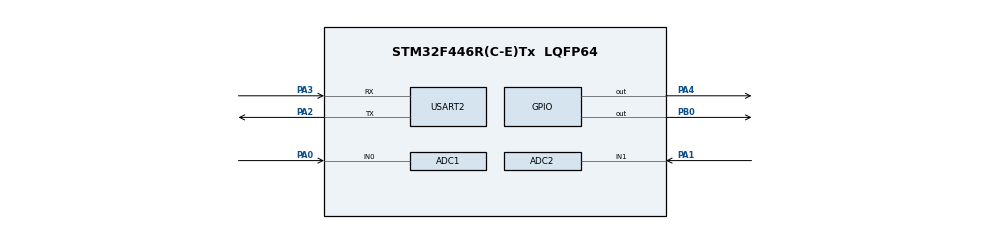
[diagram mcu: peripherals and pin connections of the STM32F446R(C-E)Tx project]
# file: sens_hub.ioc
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ADC1.Channel-0\#ChannelRegularConversion=ADC_CHANNEL_0
ADC1.ExternalTrigConv=ADC_EXTERNALTRIGCONV_T2_TRGO
ADC1.NbrOfConversionFlag=1
ADC1.Rank-0\#ChannelRegularConversion=1
ADC1.Resolution=ADC_RESOLUTION_10B
ADC1.SamplingTime-0\#ChannelRegularConversion=ADC_SAMPLETIME_3CYCLES
ADC1.ScanConvMode=ENABLE
ADC1.master=1
ADC2.Channel-0\#ChannelRegularConversion=ADC_CHANNEL_1
ADC2.ExternalTrigConv=ADC_EXTERNALTRIGCONV_T2_TRGO
ADC2.NbrOfConversionFlag=1
ADC2.Rank-0\#ChannelRegularConversion=1
ADC2.Resolution=ADC_RESOLUTION_10B
ADC2.SamplingTime-0\#ChannelRegularConversion=ADC_SAMPLETIME_3CYCLES
ADC2.ScanConvMode=ENABLE
Mcu.Family=STM32F4
Mcu.Name=STM32F446R(C-E)Tx
Mcu.Package=LQFP64
NVIC.ADC_IRQn=true\:0\:0\:false\:false\:true\:true\:true\:true
NVIC.PriorityGroup=NVIC_PRIORITYGROUP_4
NVIC.TIM2_IRQn=true\:0\:0\:false\:false\:true\:true\:true\:true
NVIC.TIM3_IRQn=true\:0\:0\:false\:false\:true\:true\:true\:true
NVIC.USART2_IRQn=true\:0\:0\:false\:false\:true\:true\:true\:true
PA0-WKUP.Signal=ADCx_IN0
PA1.Signal=ADCx_IN1
PA2.Mode=Asynchronous
PA2.Signal=USART2_TX
PA3.Mode=Asynchronous
PA3.Signal=USART2_RX
PA4.GPIO_ModeDefaultOutputPP=GPIO_MODE_OUTPUT_OD
PA4.GPIO_PuPd=GPIO_PULLUP
PA4.Signal=GPIO_Output
PB0.GPIO_ModeDefaultOutputPP=GPIO_MODE_OUTPUT_OD
PB0.GPIO_PuPd=GPIO_NOPULL
PB0.PinState=GPIO_PIN_SET
PB0.Signal=GPIO_Output
ProjectManager.HeapSize=0x200
ProjectManager.StackSize=0x400
ProjectManager.TargetToolchain=STM32CubeIDE
RCC.CortexFreq_Value=16000000
RCC.USBFreq_Value=96000000
RCC.VCOOutputFreq_Value=192000000
SH.ADCx_IN0.0=ADC1_IN0,IN0
SH.ADCx_IN1.0=ADC2_IN1,IN1
TIM2.Period=5000
TIM2.Prescaler=1600-1
TIM2.TIM_MasterOutputTrigger=TIM_TRGO_UPDATE
TIM3.Period=100-1
TIM3.Prescaler=160-1
USART2.VirtualMode=VM_ASYNC
VP_TIM2_VS_ClockSourceINT.Mode=Internal
VP_TIM3_VS_ClockSourceINT.Mode=Internal
board=custom

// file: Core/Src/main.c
/* USER CODE BEGIN Header */
/**
  ******************************************************************************
  * @file           : main.c
  * @brief          : Main program body
  ******************************************************************************
  * @attention
  *
  * Copyright (c) 2025 STMicroelectronics.
  * All rights reserved.
  *
  * This software is licensed under terms that can be found in the LICENSE file
  * in the root directory of this software component.
  * If no LICENSE file comes with this software, it is provided AS-IS.
  *
  ******************************************************************************
  */
/* USER CODE END Header */
#include "main.h"

/* USER CODE BEGIN Includes */
#include "sens.h"
#include "dht.h"
#include "ds18b20.h"
/* USER CODE END Includes */

/* USER CODE BEGIN PTD */
void microDelay (uint16_t delay);
/* USER CODE END PTD */

ADC_HandleTypeDef hadc1;
ADC_HandleTypeDef hadc2;

TIM_HandleTypeDef htim2;
TIM_HandleTypeDef htim3;

UART_HandleTypeDef huart2;

void SystemClock_Config(void);
static void MX_GPIO_Init(void);
static void MX_ADC1_Init(void);
static void MX_ADC2_Init(void);
static void MX_TIM2_Init(void);
static void MX_USART2_UART_Init(void);
static void MX_TIM3_Init(void);
/* USER CODE BEGIN PFP */
void DWT_Delay_Init(void);
/* USER CODE END PFP */

/* USER CODE BEGIN 0 */
volatile uint32_t ms_tick = 0;
uint32_t t0 = 0;
uint8_t state = 0; // 0: idle, 1: waiting
/* USER CODE END 0 */

int main(void)
{

  /* MCU Configuration--------------------------------------------------------*/

  /* Reset of all peripherals, Initializes the Flash interface and the Systick. */
  HAL_Init();

  /* Configure the system clock */
  SystemClock_Config();

  /* USER CODE BEGIN SysInit */
  DWT_Delay_Init();
  /* USER CODE END SysInit */

  /* Initialize all configured peripherals */
  MX_GPIO_Init();
  MX_ADC1_Init();
  MX_ADC2_Init();
  MX_TIM2_Init();
  MX_USART2_UART_Init();
  MX_TIM3_Init();
  /* USER CODE BEGIN 2 */
  HAL_TIM_Base_Start_IT(&htim2);
  HAL_ADC_Start(&hadc1);
  HAL_ADC_Start_IT(&hadc1);
  HAL_ADC_Start(&hadc2);
  HAL_ADC_Start_IT(&hadc2);
  HAL_TIM_Base_Start_IT(&htim3);
  /* USER CODE END 2 */

  /* Infinite loop */
  /* USER CODE BEGIN WHILE */
  while (1)
  {
	  if (ph_flag==1)
	  {
		  printf("tds = %lu, ph = %.2f\r\n", (unsigned long)tds_value, ph_value);
		  ph_flag = 0;
	  }
	  if(dht_flag)
	  {
	    dht_flag = 0;

	    float t,h;

	    uint32_t primask = __get_PRIMASK();
	    __disable_irq();                 // ✅ DHT 읽는 동안 인터럽트 금지

	    uint8_t ok = DHT22_Read(&t, &h);

	    if(!primask) __enable_irq();     // ✅ 원래 상태로 복구

	    if (ok) printf("DHT: T=%.1f H=%.1f\r\n", t, h);
	  }

	  if (state == 0) {
	      // 1초마다 변환 시작
	      static uint32_t last = 0;
	      if (ms_tick - last >= 1000)
	      {
	        last = ms_tick;

	        if (DS18B20_StartConversion())
	        {
	          t0 = ms_tick;
	          state = 1;
	        } else printf("DS18B20: NO PRESENCE\r\n");
	      }
	    }
	    else if (state == 1) {
	      if (ms_tick - t0 >= 750) {
	        float temp;
	        if (DS18B20_ReadTemp(&temp)) {
	          printf("T=%.2f\r\n", temp);
	        } else printf("DS18B20 FAIL\r\n");
	        state = 0;
	      }
	    }
    /* USER CODE END WHILE */

  }
}

void SystemClock_Config(void)
{
  RCC_OscInitTypeDef RCC_OscInitStruct = {0};
  RCC_ClkInitTypeDef RCC_ClkInitStruct = {0};

  /** Configure the main internal regulator output voltage
  */
  __HAL_RCC_PWR_CLK_ENABLE();
  __HAL_PWR_VOLTAGESCALING_CONFIG(PWR_REGULATOR_VOLTAGE_SCALE3);

  /** Initializes the RCC Oscillators according to the specified parameters
  * in the RCC_OscInitTypeDef structure.
  */
  RCC_OscInitStruct.OscillatorType = RCC_OSCILLATORTYPE_HSI;
  RCC_OscInitStruct.HSIState = RCC_HSI_ON;
  RCC_OscInitStruct.HSICalibrationValue = RCC_HSICALIBRATION_DEFAULT;
  RCC_OscInitStruct.PLL.PLLState = RCC_PLL_NONE;
  if (HAL_RCC_OscConfig(&RCC_OscInitStruct) != HAL_OK)
  {
    Error_Handler();
  }

  /** Initializes the CPU, AHB and APB buses clocks
  */
  RCC_ClkInitStruct.ClockType = RCC_CLOCKTYPE_HCLK|RCC_CLOCKTYPE_SYSCLK
                              |RCC_CLOCKTYPE_PCLK1|RCC_CLOCKTYPE_PCLK2;
  RCC_ClkInitStruct.SYSCLKSource = RCC_SYSCLKSOURCE_HSI;
  RCC_ClkInitStruct.AHBCLKDivider = RCC_SYSCLK_DIV1;
  RCC_ClkInitStruct.APB1CLKDivider = RCC_HCLK_DIV1;
  RCC_ClkInitStruct.APB2CLKDivider = RCC_HCLK_DIV1;

  if (HAL_RCC_ClockConfig(&RCC_ClkInitStruct, FLASH_LATENCY_0) != HAL_OK)
  {
    Error_Handler();
  }
}

static void MX_ADC1_Init(void)
{

  ADC_ChannelConfTypeDef sConfig = {0};

  /** Configure the global features of the ADC (Clock, Resolution, Data Alignment and number of conversion)
  */
  hadc1.Instance = ADC1;
  hadc1.Init.ClockPrescaler = ADC_CLOCK_SYNC_PCLK_DIV2;
  hadc1.Init.Resolution = ADC_RESOLUTION_10B;
  hadc1.Init.ScanConvMode = ENABLE;
  hadc1.Init.ContinuousConvMode = DISABLE;
  hadc1.Init.DiscontinuousConvMode = DISABLE;
  hadc1.Init.ExternalTrigConvEdge = ADC_EXTERNALTRIGCONVEDGE_RISING;
  hadc1.Init.ExternalTrigConv = ADC_EXTERNALTRIGCONV_T2_TRGO;
  hadc1.Init.DataAlign = ADC_DATAALIGN_RIGHT;
  hadc1.Init.NbrOfConversion = 1;
  hadc1.Init.DMAContinuousRequests = DISABLE;
  hadc1.Init.EOCSelection = ADC_EOC_SINGLE_CONV;
  if (HAL_ADC_Init(&hadc1) != HAL_OK)
  {
    Error_Handler();
  }

  /** Configure for the selected ADC regular channel its corresponding rank in the sequencer and its sample time.
  */
  sConfig.Channel = ADC_CHANNEL_0;
  sConfig.Rank = 1;
  sConfig.SamplingTime = ADC_SAMPLETIME_3CYCLES;
  if (HAL_ADC_ConfigChannel(&hadc1, &sConfig) != HAL_OK)
  {
    Error_Handler();
  }

}

static void MX_ADC2_Init(void)
{

  ADC_ChannelConfTypeDef sConfig = {0};

  /** Configure the global features of the ADC (Clock, Resolution, Data Alignment and number of conversion)
  */
  hadc2.Instance = ADC2;
  hadc2.Init.ClockPrescaler = ADC_CLOCK_SYNC_PCLK_DIV2;
  hadc2.Init.Resolution = ADC_RESOLUTION_10B;
  hadc2.Init.ScanConvMode = ENABLE;
  hadc2.Init.ContinuousConvMode = DISABLE;
  hadc2.Init.DiscontinuousConvMode = DISABLE;
  hadc2.Init.ExternalTrigConvEdge = ADC_EXTERNALTRIGCONVEDGE_RISING;
  hadc2.Init.ExternalTrigConv = ADC_EXTERNALTRIGCONV_T2_TRGO;
  hadc2.Init.DataAlign = ADC_DATAALIGN_RIGHT;
  hadc2.Init.NbrOfConversion = 1;
  hadc2.Init.DMAContinuousRequests = DISABLE;
  hadc2.Init.EOCSelection = ADC_EOC_SINGLE_CONV;
  if (HAL_ADC_Init(&hadc2) != HAL_OK)
  {
    Error_Handler();
  }

  /** Configure for the selected ADC regular channel its corresponding rank in the sequencer and its sample time.
  */
  sConfig.Channel = ADC_CHANNEL_1;
  sConfig.Rank = 1;
  sConfig.SamplingTime = ADC_SAMPLETIME_3CYCLES;
  if (HAL_ADC_ConfigChannel(&hadc2, &sConfig) != HAL_OK)
  {
    Error_Handler();
  }

}

static void MX_TIM2_Init(void)
{

  TIM_ClockConfigTypeDef sClockSourceConfig = {0};
  TIM_MasterConfigTypeDef sMasterConfig = {0};

  htim2.Instance = TIM2;
  htim2.Init.Prescaler = 3200-1;
  htim2.Init.CounterMode = TIM_COUNTERMODE_UP;
  htim2.Init.Period = 5000;
  htim2.Init.ClockDivision = TIM_CLOCKDIVISION_DIV1;
  htim2.Init.AutoReloadPreload = TIM_AUTORELOAD_PRELOAD_DISABLE;
  if (HAL_TIM_Base_Init(&htim2) != HAL_OK)
  {
    Error_Handler();
  }
  sClockSourceConfig.ClockSource = TIM_CLOCKSOURCE_INTERNAL;
  if (HAL_TIM_ConfigClockSource(&htim2, &sClockSourceConfig) != HAL_OK)
  {
    Error_Handler();
  }
  sMasterConfig.MasterOutputTrigger = TIM_TRGO_UPDATE;
  sMasterConfig.MasterSlaveMode = TIM_MASTERSLAVEMODE_DISABLE;
  if (HAL_TIMEx_MasterConfigSynchronization(&htim2, &sMasterConfig) != HAL_OK)
  {
    Error_Handler();
  }

}

static void MX_TIM3_Init(void)
{

  TIM_ClockConfigTypeDef sClockSourceConfig = {0};
  TIM_MasterConfigTypeDef sMasterConfig = {0};

  htim3.Instance = TIM3;
  htim3.Init.Prescaler = 160-1;
  htim3.Init.CounterMode = TIM_COUNTERMODE_UP;
  htim3.Init.Period = 100-1;
  htim3.Init.ClockDivision = TIM_CLOCKDIVISION_DIV1;
  htim3.Init.AutoReloadPreload = TIM_AUTORELOAD_PRELOAD_DISABLE;
  if (HAL_TIM_Base_Init(&htim3) != HAL_OK)
  {
    Error_Handler();
  }
  sClockSourceConfig.ClockSource = TIM_CLOCKSOURCE_INTERNAL;
  if (HAL_TIM_ConfigClockSource(&htim3, &sClockSourceConfig) != HAL_OK)
  {
    Error_Handler();
  }
  sMasterConfig.MasterOutputTrigger = TIM_TRGO_RESET;
  sMasterConfig.MasterSlaveMode = TIM_MASTERSLAVEMODE_DISABLE;
  if (HAL_TIMEx_MasterConfigSynchronization(&htim3, &sMasterConfig) != HAL_OK)
  {
    Error_Handler();
  }

}

static void MX_USART2_UART_Init(void)
{

  huart2.Instance = USART2;
  huart2.Init.BaudRate = 115200;
  huart2.Init.WordLength = UART_WORDLENGTH_8B;
  huart2.Init.StopBits = UART_STOPBITS_1;
  huart2.Init.Parity = UART_PARITY_NONE;
  huart2.Init.Mode = UART_MODE_TX_RX;
  huart2.Init.HwFlowCtl = UART_HWCONTROL_NONE;
  huart2.Init.OverSampling = UART_OVERSAMPLING_16;
  if (HAL_UART_Init(&huart2) != HAL_OK)
  {
    Error_Handler();
  }

}

static void MX_GPIO_Init(void)
{
  GPIO_InitTypeDef GPIO_InitStruct = {0};

  /* GPIO Ports Clock Enable */
  __HAL_RCC_GPIOA_CLK_ENABLE();
  __HAL_RCC_GPIOB_CLK_ENABLE();

  /*Configure GPIO pin Output Level */
  HAL_GPIO_WritePin(GPIOA, GPIO_PIN_4, GPIO_PIN_RESET);

  /*Configure GPIO pin Output Level */
  HAL_GPIO_WritePin(GPIOB, GPIO_PIN_0, GPIO_PIN_SET);

  /*Configure GPIO pin : PA4 */
  GPIO_InitStruct.Pin = GPIO_PIN_4;
  GPIO_InitStruct.Mode = GPIO_MODE_OUTPUT_OD;
  GPIO_InitStruct.Pull = GPIO_PULLUP;
  GPIO_InitStruct.Speed = GPIO_SPEED_FREQ_LOW;
  HAL_GPIO_Init(GPIOA, &GPIO_InitStruct);

  /*Configure GPIO pin : PB0 */
  GPIO_InitStruct.Pin = GPIO_PIN_0;
  GPIO_InitStruct.Mode = GPIO_MODE_OUTPUT_OD;
  GPIO_InitStruct.Pull = GPIO_NOPULL;
  GPIO_InitStruct.Speed = GPIO_SPEED_FREQ_LOW;
  HAL_GPIO_Init(GPIOB, &GPIO_InitStruct);

}

/* USER CODE BEGIN 4 */
void DWT_Delay_Init(void)
{
  CoreDebug->DEMCR |= CoreDebug_DEMCR_TRCENA_Msk;
  DWT->CYCCNT = 0;
  DWT->CTRL |= DWT_CTRL_CYCCNTENA_Msk;
}

void microDelay(uint16_t us)
{
  uint32_t start = DWT->CYCCNT;
  uint32_t ticks = (uint32_t)us * (SystemCoreClock / 1000000U);
  while ((DWT->CYCCNT - start) < ticks);
}
int dcnt, acnt;
void HAL_TIM_PeriodElapsedCallback(TIM_HandleTypeDef *htim)
{
	if(htim->Instance == TIM2)
	{
		dcnt++;
		acnt++;
		if (acnt == 1)
		{
			ph_flag = 1;
			tds_flag = 1;
			acnt=0;
		}
		if (dcnt == 4)
		{
			dht_flag = 1;
			dcnt = 0;
		}
	}
	if (htim->Instance == TIM3) {
	    ms_tick++;
	  }
}

/* USER CODE END 4 */

void Error_Handler(void)
{
  __disable_irq();
  while (1)
  {
  }
}
